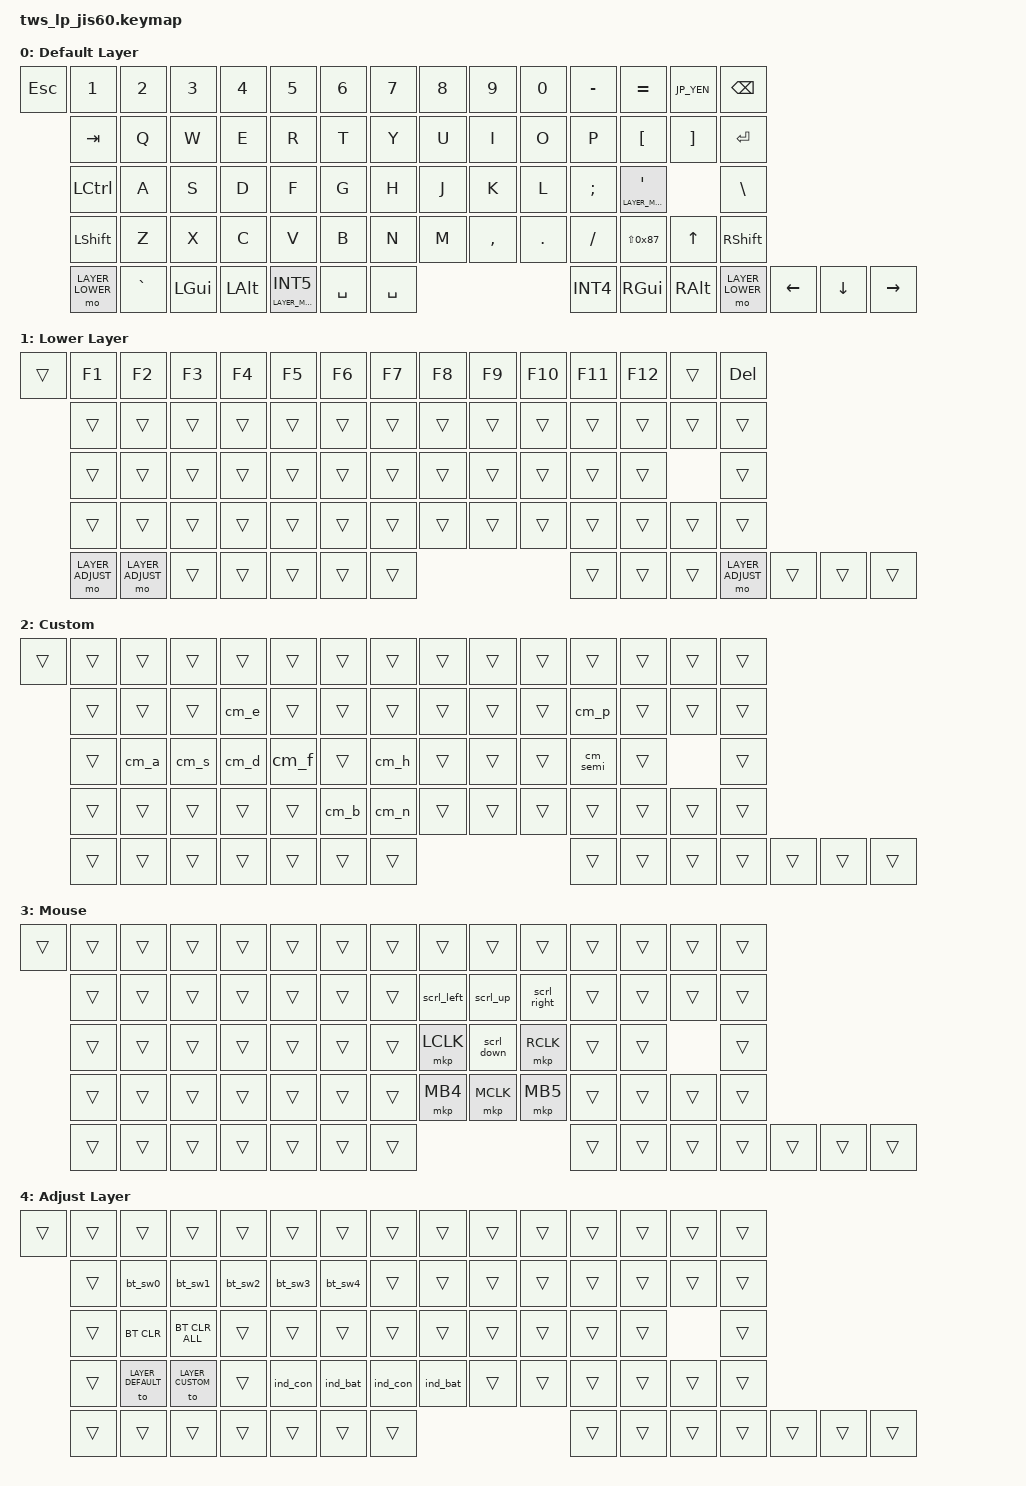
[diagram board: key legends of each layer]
// ZMK Studio で標準の Layer-Tap (&lt) を選べるようにする。
// このビルドは studio-rpc-usb-uart スニペットを使っていないため、キーマップから参照されない
// behavior はファームウェアに入らず、Studio の一覧にも出ない。behaviors.dtsi より前で定義すること。
#define ZMK_BEHAVIORS_KEEP_LT

#include <behaviors.dtsi>
#include <dt-bindings/zmk/keys.h>
#include <dt-bindings/zmk/bt.h>
#include <dt-bindings/zmk/pointing.h>
#include <behaviors/rgbled_widget.dtsi>

// JIS keyboard layout conversion definitions
// Reference: https://note.com/kloir_z/n/n314e739f03a1
#define JP_CARET EQUAL       // ^
#define JP_AT LEFT_BRACKET   // @
#define JP_COLON SINGLE_QUOTE // :
#define JP_LBRACKET RIGHT_BRACKET // [
#define JP_RBRACKET BACKSLASH     // ]
#define JP_YEN      0x89          // ¥
#define JP_UNDSCR   LS(0x87)      // _

// レイヤー番号 (下の keymap のレイヤー順と一致させること)
// 番号 = 重なりの優先順位 (大きいほど上)。Fn の Lower/Adjust とマウス操作が Custom より上に来るよう、
// Custom を Lower と Mouse の間に置いている (Custom モード中も Fn とマウス操作はすべてそのまま使える)。
#define LAYER_DEFAULT 0
#define LAYER_LOWER   1
#define LAYER_CUSTOM  2 /* Android / iPad 用。Fn 2 つ + X で入り、Fn 2 つ + Z で戻る */
#define LAYER_MOUSE   3
#define LAYER_ADJUST  4

// ---- スクロールの速さ --------------------------------------------------------------
// SCROLL_SPEED    : 押し続けたときの速さ (1 秒あたりのノッチ数)。ZMK の標準は 10。
// SCROLL_FIRST_MS : 1 回押したときに必ず 1 ノッチだけ動かすための時間 (ms)。
//                   SCROLL_SPEED を変えたら下の表の値に合わせること (長すぎると 2 ノッチ動き、短すぎると動かない)。
//                     SCROLL_SPEED 10 → 130 / 15 → 100 / 20 → 80 / 25 → 60 / 30 → 60
#define SCROLL_SPEED    20
#define SCROLL_FIRST_MS 80

// スクロール用マクロ。1 回押すと必ず 1 ノッチ動き、押し続けると連続スクロールになる。
// 標準の &msc は ZMK v0.3 では Studio 用のパラメータ情報を持たず Studio から割り当てられないので、
// 引数なしの behavior として包み、Studio の一覧から選べるようにしている。
// (&msc は等速で 16ms ごとに移動量を積算する。最初の SCROLL_FIRST_MS でちょうど 1 ノッチになる)
// (引数名は DTS のプロパティ名の一部と衝突しないよう _ 付きにしている)
#define SCROLL_MACRO(_node, _label, _dir)                                     \
    _node: _node {                                                            \
        compatible = "zmk,behavior-macro";                                    \
        #binding-cells = <0>;                                                 \
        display-name = _label;                                                \
        wait-ms = <0>;                                                        \
        tap-ms = <SCROLL_FIRST_MS>;                                           \
        bindings = <&macro_tap &msc _dir>,                                    \
                   <&macro_press &msc _dir>,                                  \
                   <&macro_pause_for_release>,                                \
                   <&macro_release &msc _dir>;                                \
    };

/ {
    behaviors {
        // マウス操作用の Layer-Tap。単独で押すと元のキー、押しながら他のキーでレイヤーになる。
        // 標準の &lt (tap-preferred) は、素早く「押す → J」とすると元のキー + J と判定されやすい。
        // のどかの Mod0 と同じ操作感にするため、他のキーが押された時点でレイヤーと確定する
        // hold-preferred を使う。
        mlt: mouse_layer_tap {
            compatible = "zmk,behavior-hold-tap";
            #binding-cells = <2>;
            display-name = "Mouse Layer-Tap";
            flavor = "hold-preferred";
            tapping-term-ms = <200>;
            // 直前のキー入力から 150ms 以内なら即座に元のキーと確定する。
            // 速いタイピングの流れで打った「:」や英数キーが取りこぼされるのを防ぐ。
            require-prior-idle-ms = <150>;
            // 200ms より長く単独で押して離した場合も元のキーを送る (のどかと同じ)。
            retro-tap;
            bindings = <&mo>, <&kp>;
        };

        // ---- Custom レイヤー用 (Ctrl を押しているかどうかで動きが変わるキー) ----------------
        // Ctrl なし = 通常のキー、Ctrl あり = 右側のキー (Ctrl は送らない。Shift は素通し)。
        // のどかが使えない Android / iPad で Emacs 風のカーソル移動をするためのもの。
#define CTRL_MORPH(_node, _label, _plain, _ctrl)                              \
        _node: _node {                                                        \
            compatible = "zmk,behavior-mod-morph";                            \
            #binding-cells = <0>;                                             \
            display-name = _label;                                            \
            bindings = <_plain>, <_ctrl>;                                     \
            mods = <(MOD_LCTL|MOD_RCTL)>;                                     \
        };
        CTRL_MORPH(cm_semi, "Enter (Ctrl: ;)",     &kp ENTER, &kp SEMI)   // Ctrl+Shift+; は Shift+; = + (JIS)
        CTRL_MORPH(cm_e,    "E (Ctrl: End)",       &kp E,     &kp END)
        CTRL_MORPH(cm_p,    "P (Ctrl: Up)",        &kp P,     &kp UP)
        CTRL_MORPH(cm_n,    "N (Ctrl: Down)",      &kp N,     &kp DOWN)
        CTRL_MORPH(cm_f,    "F (Ctrl: Right)",     &kp F,     &kp RIGHT)
        CTRL_MORPH(cm_b,    "B (Ctrl: Left)",      &kp B,     &kp LEFT)
        CTRL_MORPH(cm_h,    "H (Ctrl: BSpace)",    &kp H,     &kp BSPC)
        CTRL_MORPH(cm_d,    "D (Ctrl: Delete)",    &kp D,     &kp DEL)
        CTRL_MORPH(cm_s,    "S (Ctrl: Ctrl+F)",    &kp S,     &kp LC(F))
        // A は 2 段: Ctrl なし = A、Ctrl = Home、Ctrl+Shift = Ctrl+A (全選択)
        cm_a_ctrl: cm_a_ctrl {
            compatible = "zmk,behavior-mod-morph";
            #binding-cells = <0>;
            display-name = "Home (Shift: Ctrl+A)";
            bindings = <&kp HOME>, <&kp LC(A)>;
            mods = <(MOD_LSFT|MOD_RSFT)>;
        };
        CTRL_MORPH(cm_a,    "A (Ctrl: Home)",      &kp A,     &cm_a_ctrl)

        // ---- Bluetooth 接続先の切り替え (選択 + 他の接続先を切断) ------------------------
        // ZMK は登録済みの機器と同時につながったままになり、選択中以外にはキーを送らない。
        // すると切り替え先でない端末 (スマホなど) が「キーボード接続中」と見なして画面キーボードを
        // 出さなくなるので、切り替え時に他の 4 つを切断する。登録は消えないので再ペアリングは不要。
#define BT_SWITCH(_node, _label, _sel, _a, _b, _c, _d)                        \
        _node: _node {                                                        \
            compatible = "zmk,behavior-macro";                                \
            #binding-cells = <0>;                                             \
            display-name = _label;                                            \
            wait-ms = <0>;                                                    \
            tap-ms = <0>;                                                     \
            bindings = <&bt BT_SEL _sel>,                                     \
                       <&bt BT_DISC _a>, <&bt BT_DISC _b>,                    \
                       <&bt BT_DISC _c>, <&bt BT_DISC _d>;                    \
        };
        BT_SWITCH(bt_sw0, "BT 1 (disconnect others)", 0, 1, 2, 3, 4)
        BT_SWITCH(bt_sw1, "BT 2 (disconnect others)", 1, 0, 2, 3, 4)
        BT_SWITCH(bt_sw2, "BT 3 (disconnect others)", 2, 0, 1, 3, 4)
        BT_SWITCH(bt_sw3, "BT 4 (disconnect others)", 3, 0, 1, 2, 4)
        BT_SWITCH(bt_sw4, "BT 5 (disconnect others)", 4, 0, 1, 2, 3)

        SCROLL_MACRO(scrl_up,    "Scroll Up",    MOVE_Y(SCROLL_SPEED))
        SCROLL_MACRO(scrl_down,  "Scroll Down",  MOVE_Y(-SCROLL_SPEED))
        SCROLL_MACRO(scrl_left,  "Scroll Left",  MOVE_X(-SCROLL_SPEED))
        SCROLL_MACRO(scrl_right, "Scroll Right", MOVE_X(SCROLL_SPEED))
    };

    keymap {
        compatible = "zmk,keymap";

        default_layer {
            display-name = "Default Layer";
// -----------------------------------------------------------------------------------------
// | ESC |   1   |  2  |  3  |  4  |  5  |  6  |     |  7  |  8  |  9  |  0  |  -  |  ^  |  \  |  BSPC |
//       |  TAB  |  Q  |  W  |  E  |  R  |  T  |     |  Y  |  U  |  I  |  O  |  P  |  @  |  [  | ENTER |
//       |  CTRL |  A  |  S  |  D  |  F  |  G  |     |  H  |  J  |  K  |  L  |  ;  |  :  |  ]  |      ← 「:」は Mouse Layer-Tap (単独 = :, 押しながら = Mouse Layer)
//       | SHIFT |  Z  |  X  |  C  |  V  |  B  |     |  N  |  M  |  ,  |  .  |  /  |  \  |  ↑  | SHIFT |
//       |  Fn   |HAN/ZEN| GUI | ALT |EISU | SPC |     | SPC | KANA| GUI | ALT | Fn  |  ←  |  ↓  |   →   |
//   最下段の 4 キーは作者の配置 (以前は ZMK Studio 上だけで設定していたもの) を既定値にしている:
//     Fn = &mo Lower / HAN/ZEN = GRAVE (Windows + JIS で半角/全角) /
//     EISU = INT5 (単独) + Mouse Layer (押しながら) / KANA = INT4
            bindings = <
&kp ESC &kp N1    &kp N2 &kp N3   &kp N4   &kp N5    &kp N6       &kp N7    &kp N8    &kp N9    &kp N0   &kp MINUS &kp JP_CARET &kp JP_YEN      &kp BSPC
        &kp TAB   &kp Q  &kp W    &kp E    &kp R     &kp T        &kp Y     &kp U     &kp I     &kp O    &kp P     &kp JP_AT    &kp JP_LBRACKET &kp ENTER
        &kp LCTRL &kp A  &kp S    &kp D    &kp F     &kp G        &kp H     &kp J     &kp K     &kp L    &kp SEMI  &mlt LAYER_MOUSE JP_COLON &kp JP_RBRACKET
        &kp LSHFT &kp Z  &kp X    &kp C    &kp V     &kp B        &kp N     &kp M     &kp COMMA &kp DOT  &kp FSLH  &kp JP_UNDSCR &kp UP          &kp RSHFT
        &mo LAYER_LOWER &kp GRAVE &kp LGUI &kp LALT &mlt LAYER_MOUSE INT5 &kp SPACE    &kp SPACE &kp INT4 &kp RGUI  &kp RALT &mo LAYER_LOWER &kp LEFT     &kp DOWN        &kp RIGHT
            >;
        };

        lower_layer {
            display-name = "Lower Layer";
// -----------------------------------------------------------------------------------------
// |     |   F1  |  F2 |  F3 |  F4 |  F5 |  F6 |       |  F7 |  F8 |  F9 | F10 | F11 | F12 |     | DEL |
//       |       |     |     |     |     |     |       |     |     |     |     |     |     |     |     |
//       |       |     |     |     |     |     |       |     |     |     |     |     |     |     |
//       |       |     |     |     |     |     |       |     |     |     |     |     |     |     |
//       |  Fn   | Fn  |     |     |     |     |       |     |     |     |     | Fn  |     |     |
//   左 Fn は左下 1 番目へ移したので、そこにも Adjust への切り替えを置く。
//   これで左右の Fn をどちらから先に押しても Adjust Layer に入れる (2 番目は upstream のまま残している)。
            bindings = <
&trans  &kp F1 &kp F2 &kp F3 &kp F4 &kp F5 &kp F6    &kp F7 &kp F8 &kp F9 &kp F10 &kp F11 &kp F12 &trans &kp DEL
        &trans &trans &trans &trans &trans &trans    &trans &trans &trans &trans  &trans  &trans  &trans &trans
        &trans &trans &trans &trans &trans &trans    &trans &trans &trans &trans  &trans  &trans  &trans
        &trans &trans &trans &trans &trans &trans    &trans &trans &trans &trans  &trans  &trans  &trans &trans
        &mo LAYER_ADJUST &mo LAYER_ADJUST  &trans &trans &trans &trans    &trans &trans &trans &trans  &mo LAYER_ADJUST   &trans  &trans &trans
            >;
        };

        // Android / iPad 用。Fn 2 つ + X で有効、Fn 2 つ + Z で Default に戻る (スリープ復帰後は Default)。
        // Ctrl を押しながらで Emacs 風のカーソル移動。無変換 (英数) と : は &trans なのでマウス操作もそのまま使える。
        // Mouse と Adjust はこのレイヤーより上なので、Custom モード中もそのまま使える。
        // Lower は下にあるが、Lower のキー (F1〜F12, Delete, Adjust 切り替え) と位置が重ならないので影響しない。
        custom_layer {
            display-name = "Custom";
// -----------------------------------------------------------------------------------------
// |     |     |     |     |     |     |     |       |     |     |     |     |     |     |     |     |
//       |     |     |     |  E  |     |     |       |     |     |     |     |  P  |     |     |     |
//       |     |  A  |  S  |  D  |  F  |     |       |  H  |     |     |     |ENTER|     |     |
//       |     |     |     |     |     |  B  |       |  N  |     |     |     |     |     |     |     |
//       |     |     |     |     |     |     |       |     |     |     |     |     |     |     |     |
            bindings = <
&trans  &trans &trans &trans &trans &trans &trans    &trans &trans &trans &trans &trans  &trans &trans &trans
        &trans &trans &trans &cm_e  &trans &trans    &trans &trans &trans &trans &cm_p   &trans &trans &trans
        &trans &cm_a  &cm_s  &cm_d  &cm_f  &trans    &cm_h  &trans &trans &trans &cm_semi &trans &trans
        &trans &trans &trans &trans &trans &cm_b     &cm_n  &trans &trans &trans &trans  &trans &trans &trans
        &trans &trans &trans &trans &trans &trans    &trans &trans &trans &trans &trans  &trans &trans &trans
            >;
        };

        // マウス操作用レイヤー。Mouse Layer-Tap (&mlt) を割り当てたキーを押している間だけ有効。
        // 指定のないキーは &trans なので、下のレイヤーの通常動作になる。
        mouse_layer {
            display-name = "Mouse";
// -----------------------------------------------------------------------------------------
// |     |     |     |     |     |     |     |       |     |     |     |     |     |     |     |     |
//       |     |     |     |     |     |     |       |     | SC← | SC↑ | SC→ |     |     |     |     |
//       |     |     |     |     |     |     |       |     | LCLK| SC↓ | RCLK|     |     |     |
//       |     |     |     |     |     |     |       |     | MB4 | MCLK| MB5 |     |     |     |     |
//       |     |     |     |     |     |     |       |     |     |     |     |     |     |     |     |
            bindings = <
&trans  &trans &trans &trans &trans &trans &trans    &trans &trans      &trans     &trans       &trans &trans &trans &trans
        &trans &trans &trans &trans &trans &trans    &trans &scrl_left  &scrl_up   &scrl_right  &trans &trans &trans &trans
        &trans &trans &trans &trans &trans &trans    &trans &mkp LCLK   &scrl_down &mkp RCLK    &trans &trans &trans
        &trans &trans &trans &trans &trans &trans    &trans &mkp MB4    &mkp MCLK  &mkp MB5     &trans &trans &trans &trans
        &trans &trans &trans &trans &trans &trans    &trans &trans      &trans     &trans       &trans &trans &trans &trans
            >;
        };

        adjust_layer {
            display-name = "Adjust Layer";
// -----------------------------------------------------------------------------------------
// |     |     |     |     |     |     |     |       |     |     |     |     |     |     |     |     |
//       |     | BT1 | BT2 | BT3 | BT4 | BT5 |       |     |     |     |     |     |     |     |     |
//       |     | CLR |CLRAL|     |     |     |       |     |     |     |     |     |     |     |
//       |     | DEF |CUSTM|     | CON | BAT |       | CON | BAT |     |     |     |     |     |
//   Z = Default モードへ戻る / X = Custom モード (Android / iPad 用) へ
//       |     |     |     |     |     |     |       |     |     |     |     |     |     |     |
            bindings = <
&trans  &trans &trans       &trans         &trans       &trans       &trans    &trans   &trans &trans &trans  &trans  &trans  &trans &trans
        &trans &bt_sw0      &bt_sw1        &bt_sw2      &bt_sw3      &bt_sw4      &trans &trans &trans &trans  &trans  &trans  &trans &trans
        &trans &bt BT_CLR   &bt BT_CLR_ALL &trans       &trans       &trans    &trans   &trans &trans &trans  &trans  &trans  &trans
        &trans &to LAYER_DEFAULT &to LAYER_CUSTOM &trans &ind_con &ind_bat  &ind_con &ind_bat &trans &trans &trans &trans  &trans &trans
        &trans &trans       &trans         &trans       &trans       &trans    &trans   &trans &trans &trans  &trans  &trans  &trans &trans
            >;
        };
    };
};
